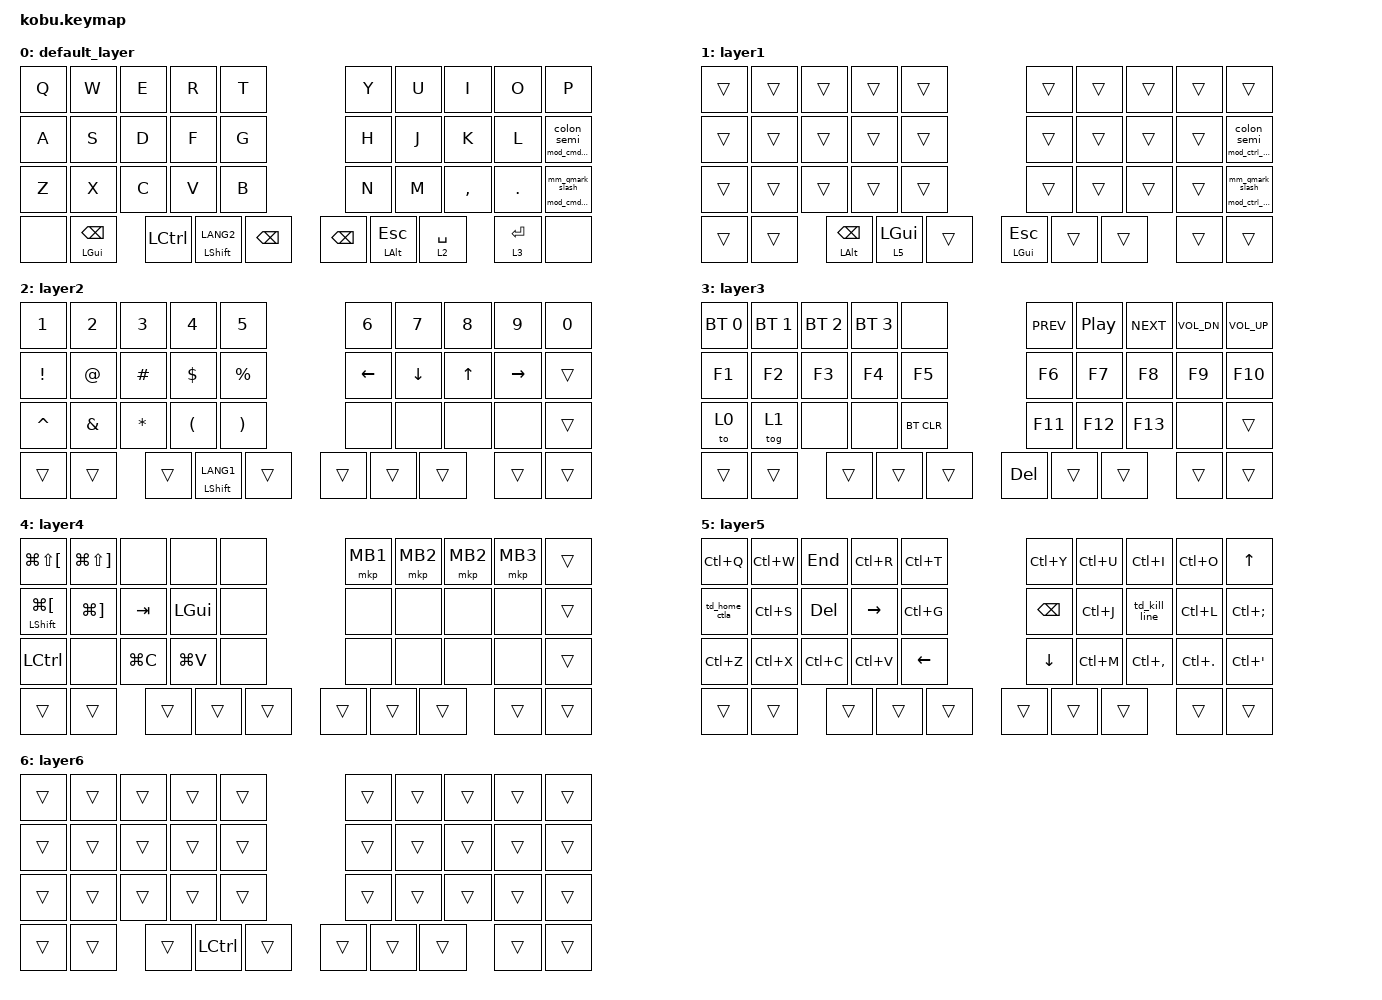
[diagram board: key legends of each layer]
/*
 * kobu keymap — ported 1:1 from the RMK firmware (firmware/rmk/keyboard.toml), which
 * was itself ported from KobitoKey_QWERTY (ZMK). 7 layers, unified 4x10.
 *
 * Fidelity notes (vs KobitoKey):
 *   - kobu thumb row (row 3) is kobu's own 4-thumb cluster (outward-shifted,
 *     phantom slots at positions 30 and 39 = &none) — taken verbatim from
 *     keyboard.toml, NOT KobitoKey's 3-thumb row.
 *   - Every RMK "FH" mod-tap / layer-tap uses hold_timeout=350ms +
 *     RMK orig was hold_on_other_press; kobu now uses ZMK tap-preferred + tapping-term-ms=170 (user: slightly shorter hold)
 *     per user: a short press is ALWAYS the tap (other keys never force a hold), and a hold
 *     only triggers after holding the key alone for 200 ms.
 *     (custom kmt / klt / ht_* below). KobitoKey used 200ms.
 *   - Layer 3 position 4 = &none (kobu has 4 BLE profiles; KobitoKey's
 *     5th BT_SEL is dropped).
 *   - colon/pipe/etc. forks -> mod-morphs; TD(0)/TD(1) -> tap-dances;
 *     Macro(0) -> macro_kill_line; combined-mod holds -> press/release macros.
 */

#include <input/processors.dtsi>
#include <behaviors.dtsi>
#include <dt-bindings/zmk/bt.h>
#include <dt-bindings/zmk/keys.h>
#include <dt-bindings/zmk/pointing.h>

/ {
    macros {
        /* RMK Macro(0): Shift+End, 30ms delay, Del (kill-to-end-of-line). */
        macro_kill_line: macro_kill_line {
            compatible = "zmk,behavior-macro";
            #binding-cells = <0>;
            wait-ms = <30>;
            tap-ms = <30>;
            bindings = <&kp LS(END)>, <&kp DEL>;
        };

        /* Combined-mod hold macros (used as the hold side of the ht_* keys). */
        mod_cmd_shift: mod_cmd_shift {
            compatible = "zmk,behavior-macro";
            #binding-cells = <0>;
            wait-ms = <0>;
            tap-ms = <0>;
            bindings = <&macro_press &kp LSHFT &kp LGUI>, <&macro_pause_for_release>, <&macro_release &kp LGUI &kp LSHFT>;
        };
        mod_cmd_ctrl: mod_cmd_ctrl {
            compatible = "zmk,behavior-macro";
            #binding-cells = <0>;
            wait-ms = <0>;
            tap-ms = <0>;
            bindings = <&macro_press &kp LCTRL &kp LGUI>, <&macro_pause_for_release>, <&macro_release &kp LGUI &kp LCTRL>;
        };
        mod_cmd_alt: mod_cmd_alt {
            compatible = "zmk,behavior-macro";
            #binding-cells = <0>;
            wait-ms = <0>;
            tap-ms = <0>;
            bindings = <&macro_press &kp LALT &kp LGUI>, <&macro_pause_for_release>, <&macro_release &kp LGUI &kp LALT>;
        };
        mod_ctrl_shift: mod_ctrl_shift {
            compatible = "zmk,behavior-macro";
            #binding-cells = <0>;
            wait-ms = <0>;
            tap-ms = <0>;
            bindings = <&macro_press &kp LSHFT &kp LCTRL>, <&macro_pause_for_release>, <&macro_release &kp LCTRL &kp LSHFT>;
        };
        mod_ctrl_alt: mod_ctrl_alt {
            compatible = "zmk,behavior-macro";
            #binding-cells = <0>;
            wait-ms = <0>;
            tap-ms = <0>;
            bindings = <&macro_press &kp LALT &kp LCTRL>, <&macro_pause_for_release>, <&macro_release &kp LCTRL &kp LALT>;
        };
    };

    behaviors {
        /* ---- Forks -> mod-morphs (kobu [behavior.fork] + the shifted combo outputs) ---- */
        colon_semi: colon_semi {          /* fork: ':' default / ';' shifted */
            compatible = "zmk,behavior-mod-morph";
            #binding-cells = <0>;
            bindings = <&kp COLON>, <&kp SEMI>;
            mods = <(MOD_LSFT|MOD_RSFT)>;
        };
        mm_pipe_bslash: mm_pipe_bslash {  /* fork: '|' default / '\' shifted (combo 6,7) */
            compatible = "zmk,behavior-mod-morph";
            #binding-cells = <0>;
            bindings = <&kp PIPE>, <&kp BSLH>;
            mods = <(MOD_LSFT|MOD_RSFT)>;
        };
        mm_minus_under: mm_minus_under {  /* combo 7,8 : '-' / '_' */
            compatible = "zmk,behavior-mod-morph";
            #binding-cells = <0>;
            bindings = <&kp MINUS>, <&kp UNDER>;
            mods = <(MOD_LSFT|MOD_RSFT)>;
        };
        mm_equal_plus: mm_equal_plus {    /* combo 8,9 : '=' / '+' */
            compatible = "zmk,behavior-mod-morph";
            #binding-cells = <0>;
            bindings = <&kp EQUAL>, <&kp PLUS>;
            mods = <(MOD_LSFT|MOD_RSFT)>;
        };
        mm_squote_dquote: mm_squote_dquote { /* combo 18,19 : ' / " */
            compatible = "zmk,behavior-mod-morph";
            #binding-cells = <0>;
            bindings = <&kp SQT>, <&kp DQT>;
            mods = <(MOD_LSFT|MOD_RSFT)>;
        };
        mm_qmark_slash: mm_qmark_slash {  /* combo 27,28 + base/win slash tap : '/' / '?' */
            compatible = "zmk,behavior-mod-morph";
            #binding-cells = <0>;
            bindings = <&kp SLASH>, <&kp QMARK>;
            mods = <(MOD_LSFT|MOD_RSFT)>;
        };
        mm_grave_tilde: mm_grave_tilde {  /* combo 0,1 : ` / ~ */
            compatible = "zmk,behavior-mod-morph";
            #binding-cells = <0>;
            bindings = <&kp GRAVE>, <&kp TILDE>;
            mods = <(MOD_LSFT|MOD_RSFT)>;
        };
        mm_lbkt_lbrc: mm_lbkt_lbrc {      /* combo 16,17 : [ / { */
            compatible = "zmk,behavior-mod-morph";
            #binding-cells = <0>;
            bindings = <&kp LBKT>, <&kp LBRC>;
            mods = <(MOD_LSFT|MOD_RSFT)>;
        };
        mm_rbkt_rbrc: mm_rbkt_rbrc {      /* combo 17,18 : ] / } */
            compatible = "zmk,behavior-mod-morph";
            #binding-cells = <0>;
            bindings = <&kp RBKT>, <&kp RBRC>;
            mods = <(MOD_LSFT|MOD_RSFT)>;
        };

        /* ---- Tap-dances (kobu non-FH morse, 200ms) ---- */
        td_kill_line: td_kill_line {      /* TD(0): tap Ctrl+K / double-tap kill-line macro */
            compatible = "zmk,behavior-tap-dance";
            #binding-cells = <0>;
            tapping-term-ms = <200>;
            bindings = <&kp LC(K)>, <&macro_kill_line>;
        };
        td_home_ctla: td_home_ctla {      /* TD(1): tap Home / double-tap Ctrl+A */
            compatible = "zmk,behavior-tap-dance";
            #binding-cells = <0>;
            tapping-term-ms = <200>;
            bindings = <&kp HOME>, <&kp LC(A)>;
        };

        /* ---- FH hold-taps: tap-preferred, 170ms (short press = instant tap; hold needs 170ms) ---- */
        kmt: kmt {                        /* generic FH mod-tap: &kmt MOD KEY */
            compatible = "zmk,behavior-hold-tap";
            #binding-cells = <2>;
            tapping-term-ms = <170>;
            quick-tap-ms = <0>;
            flavor = "tap-preferred";
            bindings = <&kp>, <&kp>;
        };
        klt: klt {                        /* generic FH layer-tap: &klt LAYER KEY */
            compatible = "zmk,behavior-hold-tap";
            #binding-cells = <2>;
            tapping-term-ms = <170>;
            quick-tap-ms = <0>;
            flavor = "tap-preferred";
            bindings = <&mo>, <&kp>;
        };
        ht_cmd_shift_colon: ht_cmd_shift_colon {   /* base ';' : hold Cmd+Shift / tap ':'/';' */
            compatible = "zmk,behavior-hold-tap";
            #binding-cells = <2>;
            tapping-term-ms = <170>;
            quick-tap-ms = <0>;
            flavor = "tap-preferred";
            bindings = <&mod_cmd_shift>, <&colon_semi>;
        };
        ht_cmd_ctrl_qmark: ht_cmd_ctrl_qmark {     /* base '/' : hold Cmd+Ctrl / tap '/'/'?' */
            compatible = "zmk,behavior-hold-tap";
            #binding-cells = <2>;
            tapping-term-ms = <170>;
            quick-tap-ms = <0>;
            flavor = "tap-preferred";
            bindings = <&mod_cmd_ctrl>, <&mm_qmark_slash>;
        };
        ht_ctrl_shift_colon: ht_ctrl_shift_colon { /* win ';' : hold Ctrl+Shift / tap ':'/';' */
            compatible = "zmk,behavior-hold-tap";
            #binding-cells = <2>;
            tapping-term-ms = <170>;
            quick-tap-ms = <0>;
            flavor = "tap-preferred";
            bindings = <&mod_ctrl_shift>, <&colon_semi>;
        };
        ht_ctrl_alt_qmark: ht_ctrl_alt_qmark {     /* win '/' : hold Ctrl+Alt / tap '/'/'?' */
            compatible = "zmk,behavior-hold-tap";
            #binding-cells = <2>;
            tapping-term-ms = <170>;
            quick-tap-ms = <0>;
            flavor = "tap-preferred";
            bindings = <&mod_ctrl_alt>, <&mm_qmark_slash>;
        };
        ht_shift_lgbkt: ht_shift_lgbkt {           /* layer4 TD(2): hold Shift / tap Cmd+[ */
            compatible = "zmk,behavior-hold-tap";
            #binding-cells = <2>;
            tapping-term-ms = <170>;
            quick-tap-ms = <0>;
            flavor = "tap-preferred";
            bindings = <&kp>, <&kp>;
        };
    };

    combos {
        compatible = "zmk,combos";

        combo_grave    { timeout-ms = <50>; key-positions = <0 1>;   bindings = <&mm_grave_tilde>; };
        combo_tab      { timeout-ms = <50>; key-positions = <10 11>; bindings = <&kp TAB>; };
        combo_yu_bspc  { timeout-ms = <50>; key-positions = <5 6>;   bindings = <&kp BSPC>; };
        combo_pipe     { timeout-ms = <50>; key-positions = <6 7>;   bindings = <&mm_pipe_bslash>; };
        combo_minus    { timeout-ms = <50>; key-positions = <7 8>;   bindings = <&mm_minus_under>; };
        combo_plus     { timeout-ms = <50>; key-positions = <8 9>;   bindings = <&mm_equal_plus>; };
        combo_lbkt     { timeout-ms = <50>; key-positions = <16 17>; bindings = <&mm_lbkt_lbrc>; };
        combo_rbkt     { timeout-ms = <50>; key-positions = <17 18>; bindings = <&mm_rbkt_rbrc>; };
        combo_squote   { timeout-ms = <50>; key-positions = <18 19>; bindings = <&mm_squote_dquote>; };
        combo_bspc     { timeout-ms = <50>; key-positions = <25 26>; bindings = <&kp BSPC>; };
        combo_question { timeout-ms = <50>; key-positions = <27 28>; bindings = <&mm_qmark_slash>; };
        combo_cmd_alt  { timeout-ms = <50>; key-positions = <12 13>; bindings = <&mod_cmd_alt>;  layers = <0>; };
        combo_ctrl_alt { timeout-ms = <50>; key-positions = <12 13>; bindings = <&mod_ctrl_alt>; layers = <1>; };
        combo_neovim_toggle { timeout-ms = <50>; key-positions = <11 12>; bindings = <&tog 6>; layers = <1 6>; };
    };

    keymap {
        compatible = "zmk,keymap";

        /* Layer 0 — Mac / default */
        default_layer {
            bindings = <
&kp Q   &kp W            &kp E      &kp R              &kp T      &kp Y      &kp U          &kp I         &kp O         &kp P
&kp A   &kp S            &kp D      &kp F              &kp G      &kp H      &kp J          &kp K         &kp L         &ht_cmd_shift_colon 0 0
&kp Z   &kp X            &kp C      &kp V              &kp B      &kp N      &kp M          &kp COMMA     &kp DOT       &ht_cmd_ctrl_qmark 0 0
&none   &kmt LGUI BSPC   &kp LCTRL  &kmt LSHFT LANG2   &kp BSPC   &kp BSPC   &kmt LALT ESC  &klt 2 SPACE  &klt 3 ENTER  &none
            >;
        };

        /* Layer 1 — Win/Linux overlay */
        layer1 {
            bindings = <
&trans  &trans           &trans          &trans         &trans     &trans          &trans  &trans  &trans  &trans
&trans  &trans           &trans          &trans         &trans     &trans          &trans  &trans  &trans  &ht_ctrl_shift_colon 0 0
&trans  &trans           &trans          &trans         &trans     &trans          &trans  &trans  &trans  &ht_ctrl_alt_qmark 0 0
&trans  &trans           &kmt LALT BSPC  &klt 5 LGUI    &trans     &kmt LGUI ESC   &trans  &trans  &trans  &trans
            >;
        };

        /* Layer 2 — numbers / symbols */
        layer2 {
            bindings = <
&kp N1     &kp N2    &kp N3    &kp N4              &kp N5     &kp N6    &kp N7    &kp N8    &kp N9     &kp N0
&kp EXCL   &kp AT    &kp HASH  &kp DLLR            &kp PRCNT  &kp LEFT  &kp DOWN  &kp UP    &kp RIGHT  &trans
&kp CARET  &kp AMPS  &kp STAR  &kp LPAR            &kp RPAR   &none     &none     &none     &none      &trans
&trans     &trans    &trans    &kmt LSHFT LANG1    &trans     &trans    &trans    &trans    &trans     &trans
            >;
        };

        /* Layer 3 — settings / media / BLE */
        layer3 {
            bindings = <
&bt BT_SEL 0  &bt BT_SEL 1  &bt BT_SEL 2  &bt BT_SEL 3  &none       &kp C_PREV  &kp C_PP  &kp C_NEXT  &kp C_VOL_DN  &kp C_VOL_UP
&kp F1        &kp F2        &kp F3        &kp F4        &kp F5      &kp F6      &kp F7    &kp F8      &kp F9        &kp F10
&to 0         &tog 1        &none         &none         &bt BT_CLR  &kp F11     &kp F12   &kp F13     &none         &trans
&trans        &trans        &trans        &trans        &trans      &kp DEL     &trans    &trans      &trans        &trans
            >;
        };

        /* Layer 4 — mouse (auto-mouse layer) */
        layer4 {
            bindings = <
&kp LG(LS(LBKT))               &kp LG(LS(RBKT))  &none      &none      &none   &mkp MB1  &mkp MB2  &mkp MB2  &mkp MB3  &trans
&ht_shift_lgbkt LSHFT LG(LBKT) &kp LG(RBKT)      &kp TAB    &kp LGUI   &none   &none     &none     &none     &none     &trans
&kp LCTRL                      &none             &kp LG(C)  &kp LG(V)  &none   &none     &none     &none     &none     &trans
&trans                         &trans            &trans     &trans     &trans  &trans    &trans    &trans    &trans    &trans
            >;
        };

        /* Layer 5 — Emacs */
        layer5 {
            bindings = <
&kp LC(Q)      &kp LC(W)  &kp END    &kp LC(R)  &kp LC(T)  &kp LC(Y)  &kp LC(U)  &kp LC(I)      &kp LC(O)    &kp UP
&td_home_ctla  &kp LC(S)  &kp DEL    &kp RIGHT  &kp LC(G)  &kp BSPC   &kp LC(J)  &td_kill_line  &kp LC(L)    &kp LC(SEMI)
&kp LC(Z)      &kp LC(X)  &kp LC(C)  &kp LC(V)  &kp LEFT   &kp DOWN   &kp LC(M)  &kp LC(COMMA)  &kp LC(DOT)  &kp LC(APOS)
&trans         &trans     &trans     &trans     &trans     &trans     &trans     &trans         &trans       &trans
            >;
        };

        /* Layer 6 — Neovim */
        layer6 {
            bindings = <
&trans  &trans  &trans  &trans     &trans  &trans  &trans  &trans  &trans  &trans
&trans  &trans  &trans  &trans     &trans  &trans  &trans  &trans  &trans  &trans
&trans  &trans  &trans  &trans     &trans  &trans  &trans  &trans  &trans  &trans
&trans  &trans  &trans  &kp LCTRL  &trans  &trans  &trans  &trans  &trans  &trans
            >;
        };
    };
};
